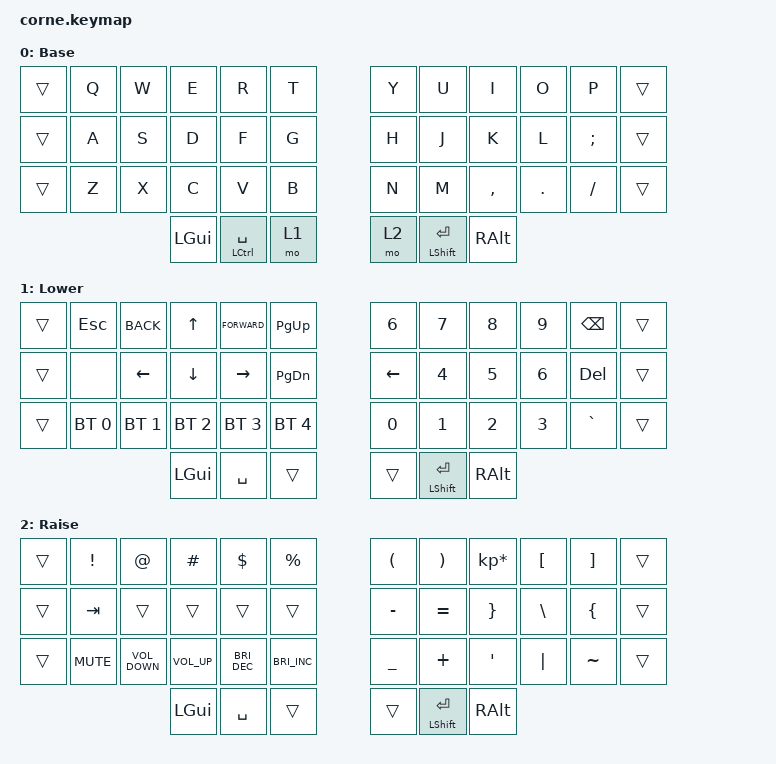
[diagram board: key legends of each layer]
/*
 * Copyright (c) 2020 The ZMK Contributors
 *
 * SPDX-License-Identifier: MIT
 */

#include <behaviors.dtsi>
#include <dt-bindings/zmk/bt.h>
#include <dt-bindings/zmk/keys.h>

/ {
    keymap {
        compatible = "zmk,keymap";

        default_layer {
            // -----------------------------------------------------------------------------------------
            // |  TAB |  Q  |  W  |  E  |  R  |  T  |   |  Y  |  U   |  I  |  O  |  P  | BKSP |
            // | CTRL |  A  |  S  |  D  |  F  |  G  |   |  H  |  J   |  K  |  L  |  ;  |  '   |
            // | SHFT |  Z  |  X  |  C  |  V  |  B  |   |  N  |  M   |  ,  |  .  |  /  | ESC  |
            //                    | GUI | LWR | SPC |   | ENT | RSE  | ALT |

            label = "Base";
            bindings = <
&trans  &kp Q  &kp W  &kp E     &kp R                   &kp T    &kp Y  &kp U                 &kp I      &kp O    &kp P     &trans
&trans  &kp A  &kp S  &kp D     &kp F                   &kp G    &kp H  &kp J                 &kp K      &kp L    &kp SEMI  &trans
&trans  &kp Z  &kp X  &kp C     &kp V                   &kp B    &kp N  &kp M                 &kp COMMA  &kp DOT  &kp FSLH  &trans
                      &kp LGUI  &mt LEFT_CONTROL SPACE  &mo 1    &mo 2  &mt LEFT_SHIFT ENTER  &kp RALT
            >;
        };

        lower_layer {
            // -----------------------------------------------------------------------------------------
            // |  TAB |  1  |  2  |  3  |  4  |  5  |   |  6  |  7  |  8  |  9  |  0  | BKSP |
            // | BTCLR| BT1 | BT2 | BT3 | BT4 | BT5 |   | LFT | DWN |  UP | RGT |     |      |
            // | SHFT |     |     |     |     |     |   |     |     |     |     |     |      |
            //                    | GUI |     | SPC |   | ENT |     | ALT |

            label = "Lower";
            bindings = <
&trans  &kp ESCAPE    &kp K_BACK      &kp UP          &kp K_FORWARD  &kp PAGE_UP      &kp N6        &kp N7                &kp N8        &kp N9        &kp BACKSPACE  &trans
&trans  &none         &kp LEFT_ARROW  &kp DOWN_ARROW  &kp RIGHT      &kp PAGE_DOWN    &kp LEFT      &kp NUMBER_4          &kp NUMBER_5  &kp NUMBER_6  &kp DELETE     &trans
&trans  &bt BT_SEL 0  &bt BT_SEL 1    &bt BT_SEL 2    &bt BT_SEL 3   &bt BT_SEL 4     &kp NUMBER_0  &kp NUMBER_1          &kp NUMBER_2  &kp NUMBER_3  &kp GRAVE      &trans
                                      &kp LGUI        &kp SPACE      &trans           &trans        &mt LEFT_SHIFT ENTER  &kp RALT
            >;
        };

        raise_layer {
            // -----------------------------------------------------------------------------------------
            // |  TAB |  !  |  @  |  #  |  $  |  %  |   |  ^  |  &  |  *  |  (  |  )  | BKSP |
            // | CTRL |     |     |     |     |     |   |  -  |  =  |  [  |  ]  |  \  |  `   |
            // | SHFT |     |     |     |     |     |   |  _  |  +  |  {  |  }  | "|" |  ~   |
            //                    | GUI |     | SPC |   | ENT |     | ALT |

            label = "Raise";
            bindings = <
&trans  &kp EXCL    &kp AT             &kp HASH         &kp DLLR              &kp PRCNT               &kp LEFT_PARENTHESIS  &kp RIGHT_PARENTHESIS  &kp KP_MULTIPLY   &kp LEFT_BRACKET  &kp RIGHT_BRACKET  &trans
&trans  &kp TAB     &trans             &trans           &trans                &trans                  &kp MINUS             &kp EQUAL              &kp RIGHT_BRACE   &kp BACKSLASH     &kp LEFT_BRACE     &trans
&trans  &kp C_MUTE  &kp C_VOLUME_DOWN  &kp C_VOLUME_UP  &kp C_BRIGHTNESS_DEC  &kp C_BRIGHTNESS_INC    &kp UNDERSCORE        &kp PLUS               &kp SINGLE_QUOTE  &kp PIPE          &kp TILDE          &trans
                                       &kp LGUI         &kp SPACE             &trans                  &trans                &mt LEFT_SHIFT ENTER   &kp RALT
            >;
        };
    };
};
